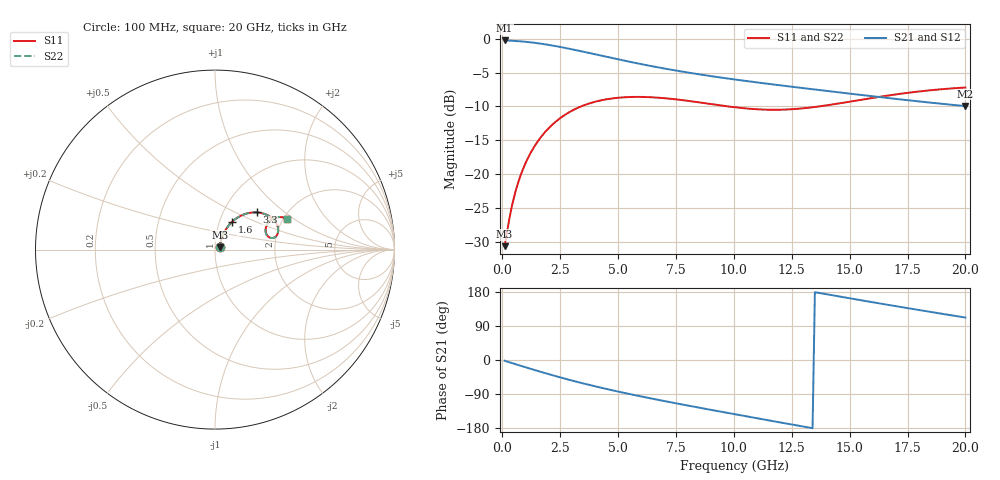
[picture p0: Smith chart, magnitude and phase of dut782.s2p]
! Touchstone file exported from HFSS 2024.1.0
!  File:  C:/UserFiles/LocalFiles/RDL_TSV_Batchsim/temp_RDL_TSV_782_1779905768.aedt
!  Generated:  02:30:16 AM May 28, 2026
!  Design:  RDL_TSV
!  Project:  temp_RDL_TSV_782_1779905768
!  Setup:  Setup1
!  Solution:  Sweep
! Variables:
!  dtsv = 6.4um
!  hbump = 3um
!  htsv = 61.7um
!  ldown = 472.21um
!  lrdl = 633.8um
!  p = 40
!  p1 = 41.69um
!  rhole = 10um
!  subl = 3951.83um
!  t = 450um
!  tdown = 3.41um
!  trdl = 4.81um
!  viad = 10um
!  wdown = 16.3um
!  wrdl = 10.94um
!  xbump = 18um
# GHz S MA R 50.000000
! Terminal data exported
! Port[1] = TM1_1_T1
! Port[2] = TM1_4_T1
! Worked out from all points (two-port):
!   200 points, 100 MHz to 20 GHz, reference 50 ohm
!   highest |S21| = -0.23 dB at 100 MHz (marker M1); lowest = -9.9 dB at 20 GHz (marker M2)
!   |S21| within 3 dB of the highest: start of sweep to 5.288 GHz
!   lowest |S11| = -30.7 dB at 100 MHz (marker M3), VSWR 1.06, Z = 52.7 + j1.26 ohm
!   |S11| at or under -10 dB: start of sweep to 3.394 GHz; 9.774 GHz to 13.66 GHz (3.888 GHz wide, 33.2 % of centre)
!   |S22| runs from -30.7 to -7.2 dB; largest |S21 - S12| = 8.4e-15
!   S11 on the Smith chart (normalised r, x): 100 MHz: 1.05, +0.03; 1.6 GHz: 1.15, +0.37; 3.3 GHz: 1.43, +0.66; 20 GHz: 2.10, +0.88
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0.1  0.02932 24.1  0.9733 -2.0  0.9733 -2.0  0.02932 24.1
! Gamma 0 0 0 0
! Port Impedance 50 0 50 0
0.4  0.05639 54.5  0.9688 -7.8  0.9688 -7.8  0.05639 54.5
0.7  0.08814 60.8  0.9615 -13.5  0.9615 -13.5  0.08814 60.8
1.1  0.1306 61.5  0.9481 -21.0  0.9481 -21.0  0.1305 61.5
1.6  0.1811 58.4  0.9252 -30.2  0.9252 -30.2  0.1811 58.4
2  0.2182 54.8  0.9029 -37.3  0.9029 -37.3  0.2182 54.8
2.4  0.2516 50.9  0.8781 -44.2  0.8781 -44.2  0.2515 50.8
2.8  0.2809 46.8  0.8516 -50.8  0.8516 -50.8  0.2807 46.8
3.3  0.3113 41.8  0.8173 -58.8  0.8173 -58.8  0.3111 41.7
3.5  0.3215 39.8  0.8035 -61.9  0.8035 -61.9  0.3213 39.8
4.2  0.3492 33.3  0.7563 -72.2  0.7563 -72.2  0.3489 33.3
5.1  0.3681 26.1  0.7 -84.6  0.7 -84.6  0.3677 26.0
5.9  0.3723 20.8  0.6556 -95.0  0.6556 -95.0  0.3718 20.7
6.8  0.3666 16.1  0.6123 -106.0  0.6123 -106.0  0.366 16.1
8.4  0.3411 11.7  0.5501 -124.7  0.5501 -124.7  0.3403 11.7
10.1  0.3113 12.6  0.4992 -143.8  0.4992 -143.8  0.3104 12.6
11.7  0.2989 17.7  0.4602 -161.5  0.4602 -161.5  0.2979 17.8
13.4  0.3121 24.0  0.4242 -180.0  0.4242 -180.0  0.3112 24.2
15.1  0.3454 27.6  0.3919 161.8  0.3919 161.8  0.3448 27.7
16.7  0.382 27.7  0.3645 145.1  0.3645 145.1  0.3815 27.9
18.3  0.4137 25.9  0.3403 128.8  0.3403 128.8  0.4134 26.0
20  0.4369 22.9  0.3184 112.0  0.3184 112.0  0.4367 23.1
